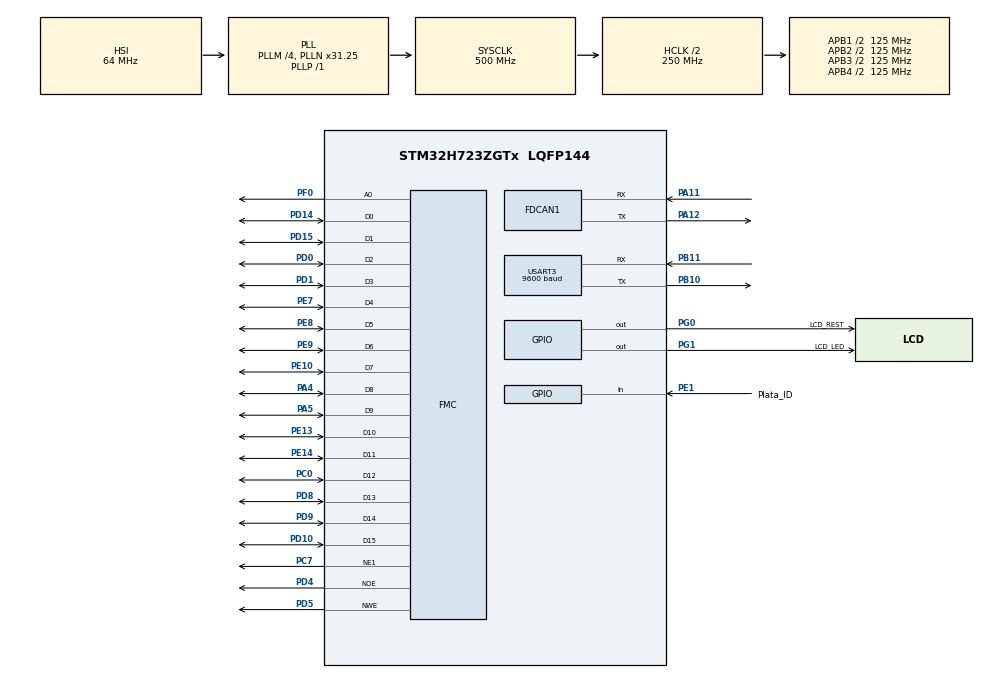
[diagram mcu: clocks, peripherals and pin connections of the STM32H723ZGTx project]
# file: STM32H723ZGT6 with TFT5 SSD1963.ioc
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CORTEX_M7.AccessPermission_S-Cortex_Memory_Protection_Unit_Region1_Settings_S=MPU_REGION_FULL_ACCESS
CORTEX_M7.AccessPermission_Spec=MPU_REGION_NO_ACCESS
CORTEX_M7.BaseAddress_S-Cortex_Memory_Protection_Unit_Region1_Settings_S=0x60000000
CORTEX_M7.DisableExec_S-Cortex_Memory_Protection_Unit_Region1_Settings_S=MPU_INSTRUCTION_ACCESS_DISABLE
CORTEX_M7.Enable_S-Cortex_Memory_Protection_Unit_Region1_Settings_S=MPU_REGION_ENABLE
CORTEX_M7.IsBufferable_S-Cortex_Memory_Protection_Unit_Region1_Settings_S=MPU_ACCESS_BUFFERABLE
CORTEX_M7.IsShareable_S-Cortex_Memory_Protection_Unit_Region1_Settings_S=MPU_ACCESS_SHAREABLE
CORTEX_M7.Size_S-Cortex_Memory_Protection_Unit_Region1_Settings_S=MPU_REGION_SIZE_64B
CORTEX_M7.SubRegionDisable_Spec=0x8F
CORTEX_M7.default_mode_Activation=1
FDCAN1.AutoRetransmission=ENABLE
FDCAN1.CalculateBaudRateNominal=50000
FDCAN1.CalculateTimeBitNominal=20000
FDCAN1.CalculateTimeQuantumNominal=2000.0
FDCAN1.ExtFiltersNbr=1
FDCAN1.NominalPrescaler=250
FDCAN1.NominalTimeSeg1=8
FDCAN1.NominalTimeSeg2=1
FDCAN1.RxFifo0ElmtsNbr=8
FDCAN1.StdFiltersNbr=1
FDCAN1.TxFifoQueueElmtsNbr=8
FMC.AddressSetupTime1=3
FMC.BusTurnAroundDuration1=3
FMC.DataSetupTime1=10
FMC.WriteOperation1=FMC_WRITE_OPERATION_ENABLE
Mcu.Family=STM32H7
Mcu.Name=STM32H723ZGTx
Mcu.Package=LQFP144
NVIC.FDCAN1_IT0_IRQn=true\:0\:0\:false\:false\:true\:true\:true\:true
NVIC.PriorityGroup=NVIC_PRIORITYGROUP_4
NVIC.TIM2_IRQn=true\:0\:0\:false\:false\:true\:true\:true\:true
NVIC.TIM3_IRQn=true\:0\:0\:false\:false\:true\:true\:true\:true
NVIC.TIM4_IRQn=true\:0\:0\:false\:false\:true\:true\:true\:true
PA11.Mode=FDCAN_Activate
PA11.Signal=FDCAN1_RX
PA12.Mode=FDCAN_Activate
PA12.Signal=FDCAN1_TX
PA13(JTMS/SWDIO).GPIO_Label=SWDIO
PA13(JTMS/SWDIO).Mode=Serial_Wire
PA13(JTMS/SWDIO).Signal=DEBUG_JTMS-SWDIO
PA14(JTCK/SWCLK).GPIO_Label=SWCLK
PA14(JTCK/SWCLK).Mode=Serial_Wire
PA14(JTCK/SWCLK).Signal=DEBUG_JTCK-SWCLK
PA4.Signal=FMC_D8_DA8
PA5.Signal=FMC_D9_DA9
PB10.Mode=Asynchronous
PB10.Signal=USART3_TX
PB11.Mode=Asynchronous
PB11.Signal=USART3_RX
PC0.Signal=FMC_D12_DA12
PC14-OSC32_IN.Mode=LSE-External-Oscillator
PC14-OSC32_IN.Signal=RCC_OSC32_IN
PC15-OSC32_OUT.Mode=LSE-External-Oscillator
PC15-OSC32_OUT.Signal=RCC_OSC32_OUT
PC7.Mode=NorPsramChipSelect1_1
PC7.Signal=FMC_NE1
PD0.Signal=FMC_D2_DA2
PD1.Signal=FMC_D3_DA3
PD10.Signal=FMC_D15_DA15
PD14.Signal=FMC_D0_DA0
PD15.Signal=FMC_D1_DA1
PD4.Signal=FMC_NOE
PD5.Signal=FMC_NWE
PD8.Signal=FMC_D13_DA13
PD9.Signal=FMC_D14_DA14
PE1.GPIO_Label=Plata_ID
PE1.GPIO_PuPd=GPIO_NOPULL
PE1.Signal=GPIO_Input
PE10.Signal=FMC_D7_DA7
PE13.Signal=FMC_D10_DA10
PE14.Signal=FMC_D11_DA11
PE7.Signal=FMC_D4_DA4
PE8.Signal=FMC_D5_DA5
PE9.Signal=FMC_D6_DA6
PF0.Signal=FMC_A0
PG0.GPIO_Label=LCD_REST
PG0.PinState=GPIO_PIN_SET
PG0.Signal=GPIO_Output
PG1.GPIO_Label=LCD_LED
PG1.PinState=GPIO_PIN_SET
PG1.Signal=GPIO_Output
ProjectManager.HeapSize=0x200
ProjectManager.StackSize=0x400
ProjectManager.TargetToolchain=STM32CubeIDE
RCC.ADCFreq_Value=129000000
RCC.APB1Freq_Value=125000000
RCC.APB2Freq_Value=125000000
RCC.APB3Freq_Value=125000000
RCC.APB4Freq_Value=125000000
RCC.CortexFreq_Value=500000000
RCC.D1PPRE=RCC_APB3_DIV2
RCC.D2PPRE1=RCC_APB1_DIV2
RCC.D2PPRE2=RCC_APB2_DIV2
RCC.D3PPRE=RCC_APB4_DIV2
RCC.DIVM1=4
RCC.DIVN1=31
RCC.DIVP1=1
RCC.DIVQ1=4
RCC.HCLKFreq_Value=250000000
RCC.HPRE=RCC_HCLK_DIV2
RCC.HSE_VALUE=8000000
RCC.PLLFRACN=2048
RCC.PREFETCH_ENABLE=1
RCC.SYSCLKFreq_VALUE=500000000
RCC.SYSCLKSource=RCC_SYSCLKSOURCE_PLLCLK
RCC.USBCLockSelection=RCC_USBCLKSOURCE_HSI48
RCC.USBFreq_Value=48000000
SH.FMC_A0.0=FMC_A0,1b-a1
SH.FMC_D0_DA0.0=FMC_D0,16b-d1
SH.FMC_D10_DA10.0=FMC_D10,16b-d1
SH.FMC_D11_DA11.0=FMC_D11,16b-d1
SH.FMC_D12_DA12.0=FMC_D12,16b-d1
SH.FMC_D13_DA13.0=FMC_D13,16b-d1
SH.FMC_D14_DA14.0=FMC_D14,16b-d1
SH.FMC_D15_DA15.0=FMC_D15,16b-d1
SH.FMC_D1_DA1.0=FMC_D1,16b-d1
SH.FMC_D2_DA2.0=FMC_D2,16b-d1
SH.FMC_D3_DA3.0=FMC_D3,16b-d1
SH.FMC_D4_DA4.0=FMC_D4,16b-d1
SH.FMC_D5_DA5.0=FMC_D5,16b-d1
SH.FMC_D6_DA6.0=FMC_D6,16b-d1
SH.FMC_D7_DA7.0=FMC_D7,16b-d1
SH.FMC_D8_DA8.0=FMC_D8,16b-d1
SH.FMC_D9_DA9.0=FMC_D9,16b-d1
SH.FMC_NOE.0=FMC_NOE,Sram1
SH.FMC_NWE.0=FMC_NWE,Sram1
TIM2.Period=1000
TIM2.Prescaler=96-1
TIM2.TIM_MasterOutputTrigger=TIM_TRGO_UPDATE
TIM3.Period=0xFFFF
TIM3.Prescaler=9600-1
TIM4.Period=0xFFFF
TIM4.Prescaler=9600-1
USART3.BaudRate=9600
USART3.VirtualMode-Asynchronous=VM_ASYNC
VP_MEMORYMAP_VS_MEMORYMAP.Mode=CurAppReg
VP_TIM2_VS_ClockSourceINT.Mode=Internal
VP_TIM3_VS_ClockSourceINT.Mode=Internal
VP_TIM4_VS_ClockSourceINT.Mode=Internal
board=NUCLEO-H723ZG

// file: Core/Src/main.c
/* USER CODE BEGIN Header */
/**
  ******************************************************************************
  * @file           : main.c
  * @brief          : Main program body
  ******************************************************************************
  * @attention
  *
  * Copyright (c) 2026 STMicroelectronics.
  * All rights reserved.
  *
  * This software is licensed under terms that can be found in the LICENSE file
  * in the root directory of this software component.
  * If no LICENSE file comes with this software, it is provided AS-IS.
  *
  ******************************************************************************
  */
/* USER CODE END Header */
#include "main.h"
#include "fdcan.h"
#include "tim.h"
#include "usart.h"
#include "gpio.h"
#include "fmc.h"

/* USER CODE BEGIN Includes */
#include "ssd1963.h"
#include "room_ui.h"
#include "hvac_can.h"
#include "hvac_cfg.h"
#include "hvac_id.h"
#include "fwupd/fwupd_app.h"
#include <stdio.h>
#include <string.h>
#include <stdlib.h>
/* USER CODE END Includes */

/* USER CODE BEGIN PD */
/* Выбор платы дисплея: раскомментируйте нужную пару перед прошивкой! */

/*Первая плата с дисплеем*/
#define NODE_INDEX 0
#define NODE_UID   789456

/*Вторая плата, без дисплея*/
//#define NODE_INDEX 1
//#define NODE_UID   123456

/*Третья плата, без дисплея*/
//#define NODE_INDEX 2
//#define NODE_UID   858585

/*******/

#define DEMO_TEMPERATURE_C   22.4f
#define DEMO_HUMIDITY_PCT    45.0f
#define DEMO_PRESSURE_PA     20.0f

#define DISP_BOARD_REV       1u
#define DISP_FW_VERSION      0x0105u /* major << 8 | minor */
#define DISP_ID_ENABLED      0u /* board rev 1 has no ID input from the HUB; 1 on boards with it */
#define DISP_APP_VTOR        0x08020400u /* vector table, see linker script */
#define DISP_CHAIN_TIMEOUT_MS 3000u
#define DISP_ID_X            640u
#define DISP_CHAIN_X         160u
#define DISP_CHAIN_Y         132u
#define DISP_CHAIN_CHARS     52u
/* USER CODE END PD */

/* USER CODE BEGIN PV */
static RoomUi_Values g_room_values;

extern uint32_t _estack;
void Reset_Handler(void);

/* The H7 vector table is longer than FWUPD_HEADER_OFFSET: the bootloader takes SP and reset handler
 * from here, the full table follows at +0x400 (DISP_APP_VTOR). */
__attribute__((section(".boot_vec"), used)) const void *const g_boot_vec[2] = { &_estack, (void *)Reset_Handler };

FWUPD_APP_HEADER(FWUPD_TYPE_DISPLAY_TFT43, DISP_BOARD_REV, DISP_FW_VERSION);

/* Last chain summary from the Main PLC (HVAC_CAN_ID_CHAIN), written by the FDCAN interrupt. */
static volatile uint8_t s_chain[8];
static volatile uint32_t s_chain_rx_tick;
static volatile uint8_t s_chain_received;
extern FDCAN_HandleTypeDef hfdcan1;
FDCAN_RxHeaderTypeDef RxHeader;
uint8_t RxData[8];

uint32_t remote_nodes[3] = {0xFFFFFFFF, 0xFFFFFFFF, 0xFFFFFFFF};
uint16_t remote_errors[3] = {0, 0, 0};
uint32_t loco_tx_count = 0;
uint32_t loco_ecr = 0;

/* Written by the FDCAN interrupt, drawn by the main loop (FMC drawing is not reentrant). */
static volatile HvacRoomMeas s_room;
static volatile uint32_t s_room_rx_tick;
static volatile uint8_t s_room_received;
/* Room this display shows (HVAC_CAN_ID_DISP_ROOM for s_my_tag); 0 until the PLC says otherwise. */
static uint32_t s_my_tag;
static volatile uint8_t s_my_room;
static volatile uint8_t s_doors_mask;
static volatile uint8_t s_doors_status;
static volatile uint32_t s_doors_rx_tick;
static volatile uint8_t s_doors_received;
/* USER CODE END PV */

void SystemClock_Config(void);
static void MPU_Config(void);

/* USER CODE BEGIN 0 */
/* Queues one 8-byte frame; called from the main loop and from the FDCAN interrupt. */
static void Disp_Send(uint32_t id, uint8_t is_ext, const uint8_t d[8])
{
  FDCAN_TxHeaderTypeDef h = {0};
  uint32_t primask = __get_PRIMASK();

  h.Identifier = id;
  h.IdType = is_ext ? FDCAN_EXTENDED_ID : FDCAN_STANDARD_ID;
  h.TxFrameType = FDCAN_DATA_FRAME;
  h.DataLength = FDCAN_DLC_BYTES_8;
  h.ErrorStateIndicator = FDCAN_ESI_ACTIVE;
  h.BitRateSwitch = FDCAN_BRS_OFF;
  h.FDFormat = FDCAN_CLASSIC_CAN;
  h.TxEventFifoControl = FDCAN_NO_TX_EVENTS;
  __disable_irq();
  HAL_FDCAN_AddMessageToTxFifoQ(&hfdcan1, &h, (uint8_t *)d);
  __set_PRIMASK(primask);
}

static void Disp_SendFwupd(uint32_t ext_id, const uint8_t d[8])
{
  Disp_Send(ext_id, 1u, d);
}

static void Disp_SendId(uint32_t std_id, const uint8_t d[8])
{
  Disp_Send(std_id, 0u, d);
}

/* Optocoupler input with pull-up: line raised -> pin low. */
static uint8_t Disp_IdInputActive(void)
{
  return (HAL_GPIO_ReadPin(Plata_ID_GPIO_Port, Plata_ID_Pin) == GPIO_PIN_RESET) ? 1u : 0u;
}

static void Disp_IdSetOutput(uint8_t out)
{
  (void)out; /* the display has no ID output */
}

static const HvacIdNodeCfg s_id_cfg = {
  .cat = HVAC_CAT_TFT43,
  .board_rev = DISP_BOARD_REV,
  .input_active = Disp_IdInputActive,
  .set_output = Disp_IdSetOutput,
  .send = Disp_SendId,
};

static const char *Disp_TypeName(uint8_t cat)
{
  switch (cat)
  {
    case HVAC_CAT_LOCOMOTIVE:   return "LOC";
    case HVAC_CAT_AI:           return "AI";
    case HVAC_CAT_AO:           return "AO";
    case HVAC_CAT_DI:           return "DI";
    case HVAC_CAT_DO:           return "DO";
    case HVAC_CAT_RELAY:        return "RL";
    case HVAC_CAT_HUB_DISPLAYS: return "HUBD";
    case HVAC_CAT_TFT43:        return "TFT";
    default:                    return "?";
  }
}

/* Own place ID in the top right corner: system name "TFT-RR.MM". */
static void Disp_DrawId(void)
{
  char s[16];
  uint8_t line, rail, place;

  if (HvacId_Get(&line, &rail, &place)) snprintf(s, sizeof(s), "TFT-%02u.%02u", rail, place);
  else                                  snprintf(s, sizeof(s), "TFT-?    ");
  SSD1963_DrawString(DISP_ID_X, 10, s, 0xFFE0, 0x0000, 2);
}

/* First problem of the module check from the Main PLC, under the title. */
static void Disp_DrawChain(void)
{
  static char last[128];
  char msg[96] = "";
  char s[128];
  uint8_t c[8];
  uint8_t fresh;
  uint16_t bg = SSD1963_RGB565(204, 204, 204);
  uint16_t fg = SSD1963_COLOR_BLACK;
  uint32_t n;

  __disable_irq();
  for (uint32_t i = 0u; i < 8u; i++) c[i] = s_chain[i];
  fresh = (s_chain_received && (HAL_GetTick() - s_chain_rx_tick) < DISP_CHAIN_TIMEOUT_MS) ? 1u : 0u;
  __enable_irq();

  if (fresh && c[0] == HVAC_CHAIN_ST_BUSY)
  {
    snprintf(msg, sizeof(msg), "Модули: проверка...");
  }
  else if (fresh && c[0] == HVAC_CHAIN_ST_ERROR)
  {
    char place[32];

    if (c[4] == HVAC_ID_NONE) snprintf(place, sizeof(place), "вне цепочки");
    else                      snprintf(place, sizeof(place), "%u.%02u.%02u", c[3], c[4], c[5]);
    switch (c[2])
    {
      case HVAC_CHAIN_P_MISSING:
        snprintf(msg, sizeof(msg), "Нет модуля %s %s", Disp_TypeName(c[6]), place);
        break;
      case HVAC_CHAIN_P_WRONG_TYPE:
        snprintf(msg, sizeof(msg), "%s: нужен %s, стоит %s", place, Disp_TypeName(c[6]), Disp_TypeName(c[7]));
        break;
      case HVAC_CHAIN_P_EXTRA:
        snprintf(msg, sizeof(msg), "Лишний модуль %s %s", Disp_TypeName(c[7]), place);
        break;
      default:
        snprintf(msg, sizeof(msg), "Ошибка настройки %s %s", Disp_TypeName(c[6]), place);
        break;
    }
    if (c[1] > 1u)
    {
      size_t len = strlen(msg);
      snprintf(&msg[len], sizeof(msg) - len, " (+%u)", (unsigned)(c[1] - 1u));
    }
    bg = SSD1963_COLOR_RED;
    fg = SSD1963_COLOR_WHITE;
  }

  /* Pad with spaces (counted in characters, Cyrillic letters are 2 bytes) to erase the old text. */
  n = 0u;
  for (const char *p = msg; *p; p++) if (((uint8_t)*p & 0xC0u) != 0x80u) n++;
  snprintf(s, sizeof(s), "%s", msg);
  for (size_t len = strlen(s); n < DISP_CHAIN_CHARS && len + 1u < sizeof(s); n++, len++) { s[len] = ' '; s[len + 1u] = '\0'; }
  if (strcmp(s, last) == 0) return;
  strcpy(last, s);
  SSD1963_DrawString(DISP_CHAIN_X, DISP_CHAIN_Y, s, fg, bg, 1U);
}

#if NODE_INDEX == 0
/* Applies the latest room frame from the Main PLC (or its absence) to the values shown on screen. */
static void Display_ApplyRoom(RoomUi_Values *v)
{
  HvacRoomMeas m;
  uint32_t rx_tick;
  uint8_t received;

  __disable_irq();
  m.temperature_c = s_room.temperature_c;
  m.humidity_pct = s_room.humidity_pct;
  m.pressure_pa = s_room.pressure_pa;
  m.status = s_room.status;
  rx_tick = s_room_rx_tick;
  received = s_room_received;
  __enable_irq();

  uint8_t fault = ROOM_UI_FAULT_T | ROOM_UI_FAULT_H | ROOM_UI_FAULT_P;
  if (received && (HAL_GetTick() - rx_tick) <= HVAC_DISPLAY_TIMEOUT_MS && (m.status & HVAC_ROOM_ST_NO_LINK) == 0u)
  {
    if ((m.status & HVAC_ROOM_ST_T_FAULT) == 0u) { v->temperature_c = m.temperature_c; fault &= (uint8_t)~ROOM_UI_FAULT_T; }
    if ((m.status & HVAC_ROOM_ST_H_FAULT) == 0u) { v->humidity_pct = m.humidity_pct;   fault &= (uint8_t)~ROOM_UI_FAULT_H; }
    if ((m.status & HVAC_ROOM_ST_P_FAULT) == 0u) { v->pressure_pa = m.pressure_pa;     fault &= (uint8_t)~ROOM_UI_FAULT_P; }
  }
  v->fault_mask = fault;
}

/* Applies the latest doors frame (or its absence) to the doors block. */
static void Display_ApplyDoors(void)
{
  uint8_t mask;
  uint8_t status;
  uint32_t rx_tick;
  uint8_t received;
  uint8_t link;

  __disable_irq();
  mask = s_doors_mask;
  status = s_doors_status;
  rx_tick = s_doors_rx_tick;
  received = s_doors_received;
  __enable_irq();

  link = (received && (HAL_GetTick() - rx_tick) <= HVAC_DOORS_TIMEOUT_MS &&
          (status & HVAC_DOORS_ST_NO_LINK) == 0U) ? 1U : 0U;
  RoomUi_UpdateDoors((uint8_t)(mask & HVAC_DOORS_MASK), link);
}
#endif
/* USER CODE END 0 */

int main(void)
{

  /* USER CODE BEGIN 1 */
  SCB->VTOR = DISP_APP_VTOR;
  __DSB();
  SCB_EnableICache();
  SCB_EnableDCache();
  /* USER CODE END 1 */

  /* MPU Configuration--------------------------------------------------------*/
  MPU_Config();

  /* MCU Configuration--------------------------------------------------------*/

  /* Reset of all peripherals, Initializes the Flash interface and the Systick. */
  HAL_Init();

  /* Configure the system clock */
  SystemClock_Config();

  /* USER CODE BEGIN SysInit */
  /* FMC Bank1 @0x60000000: open MPU (Region0 otherwise blocks it) */
  {
    MPU_Region_InitTypeDef MPU_InitStruct = {0};

    HAL_MPU_Disable();

    MPU_InitStruct.Enable = MPU_REGION_ENABLE;
    MPU_InitStruct.Number = MPU_REGION_NUMBER0;
    MPU_InitStruct.BaseAddress = 0x0;
    MPU_InitStruct.Size = MPU_REGION_SIZE_4GB;
    MPU_InitStruct.SubRegionDisable = 0x8F;
    MPU_InitStruct.TypeExtField = MPU_TEX_LEVEL0;
    MPU_InitStruct.AccessPermission = MPU_REGION_NO_ACCESS;
    MPU_InitStruct.DisableExec = MPU_INSTRUCTION_ACCESS_DISABLE;
    MPU_InitStruct.IsShareable = MPU_ACCESS_SHAREABLE;
    MPU_InitStruct.IsCacheable = MPU_ACCESS_NOT_CACHEABLE;
    MPU_InitStruct.IsBufferable = MPU_ACCESS_NOT_BUFFERABLE;
    HAL_MPU_ConfigRegion(&MPU_InitStruct);

    MPU_InitStruct.Number = MPU_REGION_NUMBER1;
    MPU_InitStruct.BaseAddress = 0x60000000;
    MPU_InitStruct.Size = MPU_REGION_SIZE_64MB;
    MPU_InitStruct.SubRegionDisable = 0x00;
    MPU_InitStruct.AccessPermission = MPU_REGION_FULL_ACCESS;
    MPU_InitStruct.IsBufferable = MPU_ACCESS_BUFFERABLE;
    HAL_MPU_ConfigRegion(&MPU_InitStruct);

    HAL_MPU_Enable(MPU_PRIVILEGED_DEFAULT);
  }
  /* USER CODE END SysInit */

  /* Initialize all configured peripherals */
  MX_GPIO_Init();
  MX_TIM2_Init();
  MX_USART3_UART_Init();
  MX_TIM3_Init();
  MX_TIM4_Init();
  MX_FMC_Init();
  MX_FDCAN1_Init();
  /* USER CODE BEGIN 2 */
  SSD1963_Init();

  g_room_values.temperature_c = DEMO_TEMPERATURE_C;
  g_room_values.humidity_pct   = DEMO_HUMIDITY_PCT;
  g_room_values.pressure_pa    = DEMO_PRESSURE_PA;
#if NODE_INDEX == 0
  g_room_values.fault_mask     = ROOM_UI_FAULT_T | ROOM_UI_FAULT_H | ROOM_UI_FAULT_P;
#endif
  RoomUi_Init("Clean Room");
  RoomUi_Update(&g_room_values);
#if NODE_INDEX == 0
  RoomUi_UpdateDoors(0U, 0U);
#endif

  /* Configure FDCAN Filter to accept everything */
  FDCAN_FilterTypeDef sFilterConfig;
  sFilterConfig.IdType = FDCAN_STANDARD_ID;
  sFilterConfig.FilterIndex = 0;
  sFilterConfig.FilterType = FDCAN_FILTER_MASK;
  sFilterConfig.FilterConfig = FDCAN_FILTER_TO_RXFIFO0;
  sFilterConfig.FilterID1 = 0x000;
  sFilterConfig.FilterID2 = 0x000;
  HAL_FDCAN_ConfigFilter(&hfdcan1, &sFilterConfig);
  /* Extended IDs = firmware update protocol. */
  HAL_FDCAN_ConfigGlobalFilter(&hfdcan1, FDCAN_ACCEPT_IN_RX_FIFO0, FDCAN_ACCEPT_IN_RX_FIFO0,
                               FDCAN_REJECT_REMOTE, FDCAN_REJECT_REMOTE);
  HAL_FDCAN_ActivateNotification(&hfdcan1, FDCAN_IT_RX_FIFO0_NEW_MESSAGE, 0);

  /* Start CAN for both roles */
  HAL_FDCAN_Start(&hfdcan1);

  FwupdApp_Init(Disp_SendFwupd, FWUPD_TYPE_DISPLAY_TFT43, DISP_BOARD_REV, DISP_FW_VERSION);
  {
    const uint32_t uid[3] = { HAL_GetUIDw0(), HAL_GetUIDw1(), HAL_GetUIDw2() };
    s_my_tag = fwupd_node_tag(uid);
    if (DISP_ID_ENABLED) HvacId_Init(&s_id_cfg, s_my_tag);
  }
  /* USER CODE END 2 */

  /* Infinite loop */
  while (1)
  {

    /* USER CODE BEGIN 3 */
    char buf[128];
    uint32_t can_errors = hfdcan1.Instance->ECR;
    uint32_t can_psr = hfdcan1.Instance->PSR;
    uint32_t can_txfqs = hfdcan1.Instance->TXFQS;
    sprintf(buf, "CAN STAT: PSR=0x%08lX, ECR=0x%08lX, TXFQS=0x%08lX\r\n", can_psr, can_errors, can_txfqs);
    extern UART_HandleTypeDef huart3;
    HAL_UART_Transmit(&huart3, (uint8_t*)buf, strlen(buf), 100);

    // Auto-recovery from Bus-Off
    if (can_psr & FDCAN_PSR_BO) {
        HAL_FDCAN_Stop(&hfdcan1);
        HAL_FDCAN_Start(&hfdcan1);
    }
#if NODE_INDEX == 0
    Display_ApplyRoom(&g_room_values);
    Display_ApplyDoors();
#endif
    RoomUi_Update(&g_room_values);
    if (DISP_ID_ENABLED) Disp_DrawId();
    Disp_DrawChain();

    for (uint32_t t0 = HAL_GetTick(); (HAL_GetTick() - t0) < 500u; )
    {
      FwupdApp_Poll();
      __disable_irq();
      HvacId_Poll(); /* also called from the FDCAN interrupt */
      __enable_irq();
      HAL_Delay(10);
    }
  }
  /* USER CODE END 3 */
}

void SystemClock_Config(void)
{
  RCC_OscInitTypeDef RCC_OscInitStruct = {0};
  RCC_ClkInitTypeDef RCC_ClkInitStruct = {0};

  /** Supply configuration update enable
  */
  HAL_PWREx_ConfigSupply(PWR_LDO_SUPPLY);

  /** Configure the main internal regulator output voltage
  */
  __HAL_PWR_VOLTAGESCALING_CONFIG(PWR_REGULATOR_VOLTAGE_SCALE0);

  while(!__HAL_PWR_GET_FLAG(PWR_FLAG_VOSRDY)) {}

  /** Initializes the RCC Oscillators according to the specified parameters
  * in the RCC_OscInitTypeDef structure.
  */
  RCC_OscInitStruct.OscillatorType = RCC_OSCILLATORTYPE_HSI;
  RCC_OscInitStruct.HSIState = RCC_HSI_DIV1;
  RCC_OscInitStruct.HSICalibrationValue = 64;
  RCC_OscInitStruct.PLL.PLLState = RCC_PLL_ON;
  RCC_OscInitStruct.PLL.PLLSource = RCC_PLLSOURCE_HSI;
  RCC_OscInitStruct.PLL.PLLM = 4;
  RCC_OscInitStruct.PLL.PLLN = 31;
  RCC_OscInitStruct.PLL.PLLP = 1;
  RCC_OscInitStruct.PLL.PLLQ = 4;
  RCC_OscInitStruct.PLL.PLLR = 2;
  RCC_OscInitStruct.PLL.PLLRGE = RCC_PLL1VCIRANGE_3;
  RCC_OscInitStruct.PLL.PLLVCOSEL = RCC_PLL1VCOWIDE;
  RCC_OscInitStruct.PLL.PLLFRACN = 2048;
  if (HAL_RCC_OscConfig(&RCC_OscInitStruct) != HAL_OK)
  {
    Error_Handler();
  }

  /** Initializes the CPU, AHB and APB buses clocks
  */
  RCC_ClkInitStruct.ClockType = RCC_CLOCKTYPE_HCLK|RCC_CLOCKTYPE_SYSCLK
                              |RCC_CLOCKTYPE_PCLK1|RCC_CLOCKTYPE_PCLK2
                              |RCC_CLOCKTYPE_D3PCLK1|RCC_CLOCKTYPE_D1PCLK1;
  RCC_ClkInitStruct.SYSCLKSource = RCC_SYSCLKSOURCE_PLLCLK;
  RCC_ClkInitStruct.SYSCLKDivider = RCC_SYSCLK_DIV1;
  RCC_ClkInitStruct.AHBCLKDivider = RCC_HCLK_DIV2;
  RCC_ClkInitStruct.APB3CLKDivider = RCC_APB3_DIV2;
  RCC_ClkInitStruct.APB1CLKDivider = RCC_APB1_DIV2;
  RCC_ClkInitStruct.APB2CLKDivider = RCC_APB2_DIV2;
  RCC_ClkInitStruct.APB4CLKDivider = RCC_APB4_DIV2;

  if (HAL_RCC_ClockConfig(&RCC_ClkInitStruct, FLASH_LATENCY_3) != HAL_OK)
  {
    Error_Handler();
  }
}

/* USER CODE BEGIN 4 */
void HAL_FDCAN_RxFifo0Callback(FDCAN_HandleTypeDef *hfdcan, uint32_t RxFifo0ITs)
{
  if((RxFifo0ITs & FDCAN_IT_RX_FIFO0_NEW_MESSAGE) != RESET)
  {
    while (HAL_FDCAN_GetRxFifoFillLevel(hfdcan, FDCAN_RX_FIFO0) > 0u &&
           HAL_FDCAN_GetRxMessage(hfdcan, FDCAN_RX_FIFO0, &RxHeader, RxData) == HAL_OK)
    {
      uint8_t len8 = (RxHeader.DataLength == FDCAN_DLC_BYTES_8) ? 1u : 0u;

      if (RxHeader.IdType == FDCAN_EXTENDED_ID)
      {
        FwupdApp_OnRx(RxHeader.Identifier, 1u, RxData, len8 ? 8u : 0u);
      }
      else if (RxHeader.Identifier == HVAC_CAN_ID_ID_CMD && len8)
      {
        /* Answer at once: the main loop is slow while it draws, the PLC waits HVAC_ID_ANSWER_MS. */
        HvacId_OnCmd(RxData);
        HvacId_Poll();
      }
      else if (RxHeader.Identifier == HVAC_CAN_ID_CHAIN && len8)
      {
        for (uint32_t i = 0u; i < 8u; i++) s_chain[i] = RxData[i];
        s_chain_rx_tick = HAL_GetTick();
        s_chain_received = 1u;
      }
      else if (RxHeader.Identifier == (0x201 + NODE_INDEX))
      {
        // Локомотив запрашивает наш статус. Отвечаем.
        FDCAN_TxHeaderTypeDef TxHeader;
        TxHeader.Identifier = 0x211 + NODE_INDEX;
        TxHeader.IdType = FDCAN_STANDARD_ID;
        TxHeader.TxFrameType = FDCAN_DATA_FRAME;
        TxHeader.DataLength = FDCAN_DLC_BYTES_4;
        TxHeader.ErrorStateIndicator = FDCAN_ESI_ACTIVE;
        TxHeader.BitRateSwitch = FDCAN_BRS_OFF;
        TxHeader.FDFormat = FDCAN_CLASSIC_CAN;
        TxHeader.TxEventFifoControl = FDCAN_NO_TX_EVENTS;
        TxHeader.MessageMarker = 0;

        uint8_t tx_data[4];
        tx_data[0] = NODE_UID & 0xFF;
        tx_data[1] = (NODE_UID >> 8) & 0xFF;
        tx_data[2] = (NODE_UID >> 16) & 0xFF;
        tx_data[3] = (NODE_UID >> 24) & 0xFF;
        HAL_FDCAN_AddMessageToTxFifoQ(hfdcan, &TxHeader, tx_data);
      }
#if NODE_INDEX == 0
      else if (RxHeader.Identifier == HVAC_CAN_ID_DISP_ROOM && len8)
      {
        uint32_t tag = (uint32_t)RxData[0] | ((uint32_t)RxData[1] << 8) |
                       ((uint32_t)RxData[2] << 16) | ((uint32_t)RxData[3] << 24);
        if (tag == s_my_tag && tag != 0u) s_my_room = RxData[4];
      }
      else if (RxHeader.Identifier == HVAC_CAN_ID_ROOM && len8 && RxData[7] == s_my_room)
      {
        HvacRoomMeas m;
        hvac_can_room_decode(RxData, &m);
        s_room.temperature_c = m.temperature_c;
        s_room.humidity_pct = m.humidity_pct;
        s_room.pressure_pa = m.pressure_pa;
        s_room.status = m.status;
        s_room.room = m.room;
        s_room_rx_tick = HAL_GetTick();
        s_room_received = 1U;
      }
      else if (RxHeader.Identifier == HVAC_CAN_ID_DOORS && RxHeader.DataLength == FDCAN_DLC_BYTES_4)
      {
        s_doors_mask = RxData[0];
        s_doors_status = RxData[1];
        s_doors_rx_tick = HAL_GetTick();
        s_doors_received = 1U;
      }
      else if (RxHeader.Identifier == 0x302 || RxHeader.Identifier == 0x303)
      {
        uint8_t idx = RxHeader.Identifier - 0x301;
        uint32_t uid = RxData[0] | (RxData[1] << 8) | (RxData[2] << 16) | (RxData[3] << 24);
        remote_nodes[idx] = uid;
      }
      else if (RxHeader.Identifier == 0x304)
      {
        loco_tx_count = RxData[0] | (RxData[1] << 8) | (RxData[2] << 16) | (RxData[3] << 24);
        loco_ecr      = RxData[4] | (RxData[5] << 8) | (RxData[6] << 16) | (RxData[7] << 24);
      }
      else if (RxHeader.Identifier == 0x305)
      {
        remote_errors[0] = RxData[0] | (RxData[1] << 8);
        remote_errors[1] = RxData[2] | (RxData[3] << 8);
        remote_errors[2] = RxData[4] | (RxData[5] << 8);
      }
#endif
    }
  }
}
/* USER CODE END 4 */

 /* MPU Configuration */

void MPU_Config(void)
{
  MPU_Region_InitTypeDef MPU_InitStruct = {0};

  /* Disables the MPU */
  HAL_MPU_Disable();

  /** Initializes and configures the Region and the memory to be protected
  */
  MPU_InitStruct.Enable = MPU_REGION_ENABLE;
  MPU_InitStruct.Number = MPU_REGION_NUMBER0;
  MPU_InitStruct.BaseAddress = 0x0;
  MPU_InitStruct.Size = MPU_REGION_SIZE_4GB;
  MPU_InitStruct.SubRegionDisable = 0x8F;
  MPU_InitStruct.TypeExtField = MPU_TEX_LEVEL0;
  MPU_InitStruct.AccessPermission = MPU_REGION_NO_ACCESS;
  MPU_InitStruct.DisableExec = MPU_INSTRUCTION_ACCESS_DISABLE;
  MPU_InitStruct.IsShareable = MPU_ACCESS_SHAREABLE;
  MPU_InitStruct.IsCacheable = MPU_ACCESS_NOT_CACHEABLE;
  MPU_InitStruct.IsBufferable = MPU_ACCESS_NOT_BUFFERABLE;

  HAL_MPU_ConfigRegion(&MPU_InitStruct);

  /** Initializes and configures the Region and the memory to be protected
  */
  MPU_InitStruct.Number = MPU_REGION_NUMBER1;
  MPU_InitStruct.BaseAddress = 0x60000000;
  MPU_InitStruct.Size = MPU_REGION_SIZE_64B;
  MPU_InitStruct.SubRegionDisable = 0x0;
  MPU_InitStruct.AccessPermission = MPU_REGION_FULL_ACCESS;
  MPU_InitStruct.IsBufferable = MPU_ACCESS_BUFFERABLE;

  HAL_MPU_ConfigRegion(&MPU_InitStruct);
  /* Enables the MPU */
  HAL_MPU_Enable(MPU_PRIVILEGED_DEFAULT);

}

void Error_Handler(void)
{
  __disable_irq();
  while (1)
  {
  }
}
